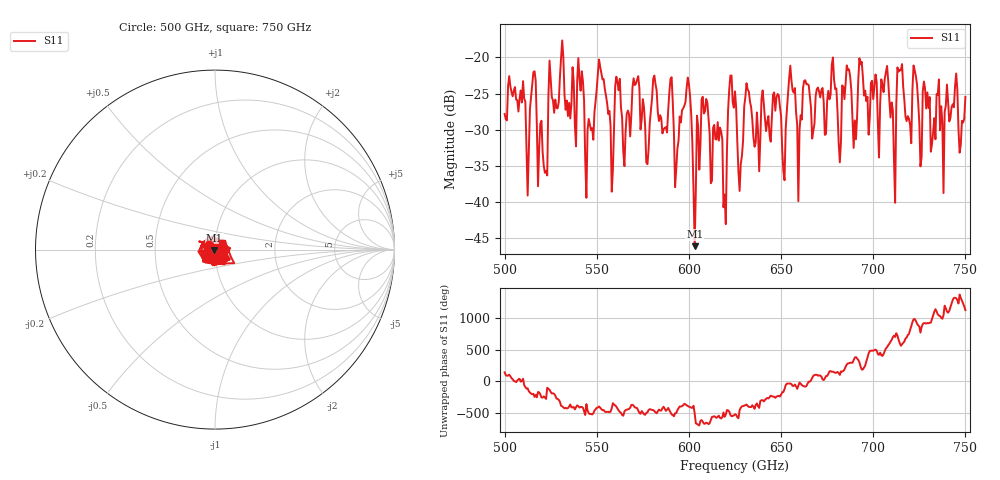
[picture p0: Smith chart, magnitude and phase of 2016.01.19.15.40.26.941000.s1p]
!Created with skrf (http://scikit-rf.org).
# GHz S RI R 50.0
!freq ReS11 ImS11
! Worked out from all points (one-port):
!   401 points, 500 GHz to 750 GHz, reference 50 ohm
!   lowest |S11| = -46.1 dB at 603.1 GHz (marker M1), VSWR 1.01, Z = 49.6 - j0.275 ohm
!   |S11| at or under -10 dB: start of sweep to end of sweep
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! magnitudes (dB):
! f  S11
! 500 GHz  -27.8
! 513.1 GHz  -33.3
! 515.6 GHz  -22.0
! 521.9 GHz  -36.0
! 531.2 GHz  -17.7
! 541.2 GHz  -24.6
! 545 GHz  -30.1
! 551.2 GHz  -20.3
! 558.1 GHz  -38.6
! 562.5 GHz  -23.0
! 577.5 GHz  -34.8
! 590 GHz  -23.0
! 593.8 GHz  -32.6
! 599.4 GHz  -22.8
! 603.1 GHz  -46.1
! 608.1 GHz  -27.8
! 619.4 GHz  -39.0
! 622.5 GHz  -22.5
! 625 GHz  -24.7
! 627.5 GHz  -38.5
! 631.9 GHz  -24.4
! 651.2 GHz  -35.8
! 656.2 GHz  -24.6
! 660 GHz  -30.1
! 663.1 GHz  -23.2
! 687.5 GHz  -22.7
! 718.8 GHz  -28.1
! 750 GHz  -25.5
